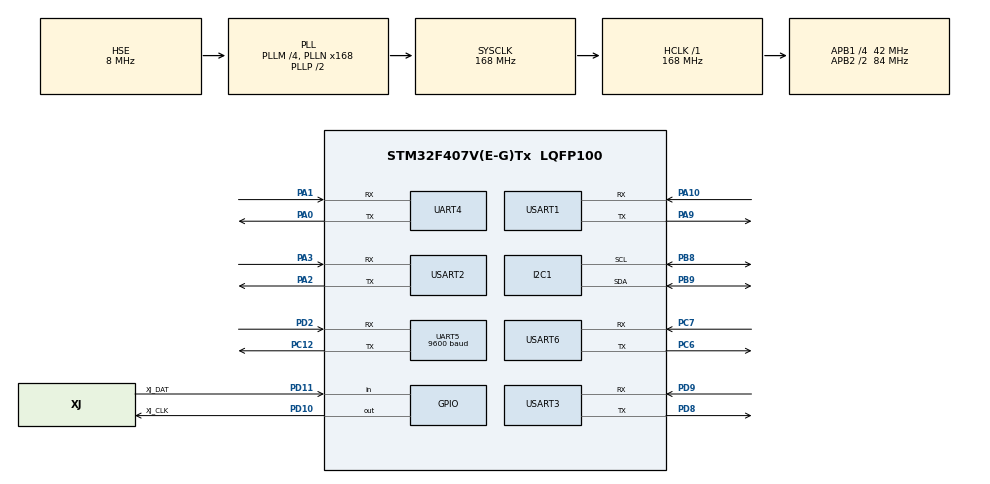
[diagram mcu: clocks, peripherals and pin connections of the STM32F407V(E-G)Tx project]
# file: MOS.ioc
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Dma.Request0=USART2_TX
Dma.Request1=USART2_RX
Dma.Request2=USART3_RX
Dma.Request3=UART4_RX
Dma.Request4=UART4_TX
Dma.Request5=UART5_RX
Dma.Request6=USART6_TX
Dma.UART4_RX.3.Direction=DMA_PERIPH_TO_MEMORY
Dma.UART4_RX.3.FIFOMode=DMA_FIFOMODE_DISABLE
Dma.UART4_RX.3.Instance=DMA1_Stream2
Dma.UART4_RX.3.MemDataAlignment=DMA_MDATAALIGN_BYTE
Dma.UART4_RX.3.MemInc=DMA_MINC_ENABLE
Dma.UART4_RX.3.Mode=DMA_NORMAL
Dma.UART4_RX.3.PeriphDataAlignment=DMA_PDATAALIGN_BYTE
Dma.UART4_RX.3.PeriphInc=DMA_PINC_DISABLE
Dma.UART4_RX.3.Priority=DMA_PRIORITY_LOW
Dma.UART4_TX.4.Direction=DMA_MEMORY_TO_PERIPH
Dma.UART4_TX.4.FIFOMode=DMA_FIFOMODE_DISABLE
Dma.UART4_TX.4.Instance=DMA1_Stream4
Dma.UART4_TX.4.MemDataAlignment=DMA_MDATAALIGN_BYTE
Dma.UART4_TX.4.MemInc=DMA_MINC_ENABLE
Dma.UART4_TX.4.Mode=DMA_NORMAL
Dma.UART4_TX.4.PeriphDataAlignment=DMA_PDATAALIGN_BYTE
Dma.UART4_TX.4.PeriphInc=DMA_PINC_DISABLE
Dma.UART4_TX.4.Priority=DMA_PRIORITY_LOW
Dma.UART5_RX.5.Direction=DMA_PERIPH_TO_MEMORY
Dma.UART5_RX.5.FIFOMode=DMA_FIFOMODE_DISABLE
Dma.UART5_RX.5.Instance=DMA1_Stream0
Dma.UART5_RX.5.MemDataAlignment=DMA_MDATAALIGN_BYTE
Dma.UART5_RX.5.MemInc=DMA_MINC_ENABLE
Dma.UART5_RX.5.Mode=DMA_NORMAL
Dma.UART5_RX.5.PeriphDataAlignment=DMA_PDATAALIGN_BYTE
Dma.UART5_RX.5.PeriphInc=DMA_PINC_DISABLE
Dma.UART5_RX.5.Priority=DMA_PRIORITY_LOW
Dma.USART2_RX.1.Direction=DMA_PERIPH_TO_MEMORY
Dma.USART2_RX.1.FIFOMode=DMA_FIFOMODE_DISABLE
Dma.USART2_RX.1.Instance=DMA1_Stream5
Dma.USART2_RX.1.MemDataAlignment=DMA_MDATAALIGN_BYTE
Dma.USART2_RX.1.MemInc=DMA_MINC_ENABLE
Dma.USART2_RX.1.Mode=DMA_NORMAL
Dma.USART2_RX.1.PeriphDataAlignment=DMA_PDATAALIGN_BYTE
Dma.USART2_RX.1.PeriphInc=DMA_PINC_DISABLE
Dma.USART2_RX.1.Priority=DMA_PRIORITY_LOW
Dma.USART2_TX.0.Direction=DMA_MEMORY_TO_PERIPH
Dma.USART2_TX.0.FIFOMode=DMA_FIFOMODE_DISABLE
Dma.USART2_TX.0.Instance=DMA1_Stream6
Dma.USART2_TX.0.MemDataAlignment=DMA_MDATAALIGN_BYTE
Dma.USART2_TX.0.MemInc=DMA_MINC_ENABLE
Dma.USART2_TX.0.Mode=DMA_NORMAL
Dma.USART2_TX.0.PeriphDataAlignment=DMA_PDATAALIGN_BYTE
Dma.USART2_TX.0.PeriphInc=DMA_PINC_DISABLE
Dma.USART2_TX.0.Priority=DMA_PRIORITY_LOW
Dma.USART3_RX.2.Direction=DMA_PERIPH_TO_MEMORY
Dma.USART3_RX.2.FIFOMode=DMA_FIFOMODE_DISABLE
Dma.USART3_RX.2.Instance=DMA1_Stream1
Dma.USART3_RX.2.MemDataAlignment=DMA_MDATAALIGN_BYTE
Dma.USART3_RX.2.MemInc=DMA_MINC_ENABLE
Dma.USART3_RX.2.Mode=DMA_NORMAL
Dma.USART3_RX.2.PeriphDataAlignment=DMA_PDATAALIGN_BYTE
Dma.USART3_RX.2.PeriphInc=DMA_PINC_DISABLE
Dma.USART3_RX.2.Priority=DMA_PRIORITY_LOW
Dma.USART6_TX.6.Direction=DMA_MEMORY_TO_PERIPH
Dma.USART6_TX.6.FIFOMode=DMA_FIFOMODE_DISABLE
Dma.USART6_TX.6.Instance=DMA2_Stream6
Dma.USART6_TX.6.MemDataAlignment=DMA_MDATAALIGN_BYTE
Dma.USART6_TX.6.MemInc=DMA_MINC_ENABLE
Dma.USART6_TX.6.Mode=DMA_NORMAL
Dma.USART6_TX.6.PeriphDataAlignment=DMA_PDATAALIGN_BYTE
Dma.USART6_TX.6.PeriphInc=DMA_PINC_DISABLE
Dma.USART6_TX.6.Priority=DMA_PRIORITY_LOW
I2C1.I2C_Mode=I2C_Fast
Mcu.Family=STM32F4
Mcu.Name=STM32F407V(E-G)Tx
Mcu.Package=LQFP100
NVIC.DMA1_Stream0_IRQn=true\:0\:0\:false\:false\:true\:false\:true\:true
NVIC.DMA1_Stream1_IRQn=true\:0\:0\:false\:false\:true\:false\:true\:true
NVIC.DMA1_Stream2_IRQn=true\:0\:0\:false\:false\:true\:false\:true\:true
NVIC.DMA1_Stream4_IRQn=true\:0\:0\:false\:false\:true\:false\:true\:true
NVIC.DMA1_Stream5_IRQn=true\:0\:0\:false\:false\:true\:false\:true\:true
NVIC.DMA1_Stream6_IRQn=true\:0\:0\:false\:false\:true\:false\:true\:true
NVIC.DMA2_Stream6_IRQn=true\:0\:0\:false\:false\:true\:false\:true\:true
NVIC.PriorityGroup=NVIC_PRIORITYGROUP_4
NVIC.TIM2_IRQn=true\:0\:0\:true\:false\:true\:true\:true\:true
NVIC.UART4_IRQn=true\:0\:0\:false\:false\:true\:true\:true\:true
NVIC.UART5_IRQn=true\:0\:0\:false\:false\:true\:true\:true\:true
NVIC.USART2_IRQn=true\:0\:0\:false\:false\:true\:true\:true\:true
NVIC.USART3_IRQn=true\:0\:0\:false\:false\:true\:true\:true\:true
NVIC.USART6_IRQn=true\:0\:0\:false\:false\:true\:true\:true\:true
PA0-WKUP.Mode=Asynchronous
PA0-WKUP.Signal=UART4_TX
PA1.Mode=Asynchronous
PA1.Signal=UART4_RX
PA10.Mode=Asynchronous
PA10.Signal=USART1_RX
PA13.Mode=Serial_Wire
PA13.Signal=SYS_JTMS-SWDIO
PA14.Mode=Serial_Wire
PA14.Signal=SYS_JTCK-SWCLK
PA2.Mode=Asynchronous
PA2.Signal=USART2_TX
PA3.Mode=Asynchronous
PA3.Signal=USART2_RX
PA9.Mode=Asynchronous
PA9.Signal=USART1_TX
PB8.Mode=I2C
PB8.Signal=I2C1_SCL
PB9.Mode=I2C
PB9.Signal=I2C1_SDA
PC12.Mode=Asynchronous
PC12.Signal=UART5_TX
PC14-OSC32_IN.Mode=LSE-External-Oscillator
PC14-OSC32_IN.Signal=RCC_OSC32_IN
PC15-OSC32_OUT.Mode=LSE-External-Oscillator
PC15-OSC32_OUT.Signal=RCC_OSC32_OUT
PC6.Mode=Asynchronous
PC6.Signal=USART6_TX
PC7.Mode=Asynchronous
PC7.Signal=USART6_RX
PD10.GPIO_Label=XJ_CLK
PD10.GPIO_PuPd=GPIO_PULLUP
PD10.GPIO_Speed=GPIO_SPEED_FREQ_VERY_HIGH
PD10.Signal=GPIO_Output
PD11.GPIO_Label=XJ_DAT
PD11.GPIO_PuPd=GPIO_PULLUP
PD11.Signal=GPIO_Input
PD2.Mode=Asynchronous
PD2.Signal=UART5_RX
PD8.Mode=Asynchronous
PD8.Signal=USART3_TX
PD9.Mode=Asynchronous
PD9.Signal=USART3_RX
PH0-OSC_IN.Mode=HSE-External-Oscillator
PH0-OSC_IN.Signal=RCC_OSC_IN
PH1-OSC_OUT.Mode=HSE-External-Oscillator
PH1-OSC_OUT.Signal=RCC_OSC_OUT
ProjectManager.HeapSize=0x200
ProjectManager.StackSize=0x400
ProjectManager.TargetToolchain=CMake
RCC.48MHZClocksFreq_Value=84000000
RCC.AHBFreq_Value=168000000
RCC.APB1CLKDivider=RCC_HCLK_DIV4
RCC.APB1Freq_Value=42000000
RCC.APB1TimFreq_Value=84000000
RCC.APB2CLKDivider=RCC_HCLK_DIV2
RCC.APB2Freq_Value=84000000
RCC.APB2TimFreq_Value=168000000
RCC.CortexFreq_Value=168000000
RCC.HCLKFreq_Value=168000000
RCC.HSE_VALUE=8000000
RCC.HSI_VALUE=16000000
RCC.PLLM=4
RCC.PLLN=168
RCC.PLLSourceVirtual=RCC_PLLSOURCE_HSE
RCC.SYSCLKFreq_VALUE=168000000
RCC.SYSCLKSource=RCC_SYSCLKSOURCE_PLLCLK
RCC.VCOOutputFreq_Value=336000000
TIM2.Period=40000-1
TIM2.Prescaler=168-1
UART4.VirtualMode=Asynchronous
UART5.BaudRate=9600
UART5.VirtualMode=Asynchronous
USART1.VirtualMode=VM_ASYNC
USART2.VirtualMode=VM_ASYNC
USART3.VirtualMode=VM_ASYNC
USART6.VirtualMode=VM_ASYNC
VP_TIM2_VS_ClockSourceINT.Mode=Internal
board=custom

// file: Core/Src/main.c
/* USER CODE BEGIN Header */
/**
  ******************************************************************************
  * @file           : main.c
  * @brief          : Main program body
  ******************************************************************************
  * @attention
  *
  * Copyright (c) 2026 STMicroelectronics.
  * All rights reserved.
  *
  * This software is licensed under terms that can be found in the LICENSE file
  * in the root directory of this software component.
  * If no LICENSE file comes with this software, it is provided AS-IS.
  *
  ******************************************************************************
  */
/* USER CODE END Header */
#include "main.h"
#include "dma.h"
#include "i2c.h"
#include "tim.h"
#include "usart.h"
#include "gpio.h"

/* USER CODE BEGIN Includes */
#include "Emm_V5.h"
#include <stdint.h>
#include <stdio.h>
#include <string.h>
#include "math.h"
#include "pid.h"
#include "xunji.h"
#include "delay.h"
#include "oled.h"
#include "time.h"
/* USER CODE END Includes */

/* USER CODE BEGIN PV */

uint8_t rxCmd1[50];
uint8_t rxCmd2[50];
uint32_t pos2 = 0;
uint32_t pos1 = 0;
volatile float Motor_Cur_Pos1 = 0.0f;
volatile float Motor_Cur_Pos2 = 0.0f;

uint8_t gray_buffer[8] = {0};
float turnerror_now = 0.0f;
float turnerror_past = 0.0f;
float alpha = 0.5;

float turnspeed;  //turn>0表示左转 error>0小车应该左转
float turnerror;
float vel_1;
float vel_2;

uint8_t dir_m1 = 1, dir_m2 = 0;//2的角度为正，1的角度为负
volatile uint8_t state = 0; //状态机
uint8_t flag1 = 0;
uint8_t flag2 = 0;
uint8_t flag3 = 0;
uint8_t flag4 = 0;
uint8_t flag5 = 0;

uint8_t raw_data[11];
short x_raw, y_raw, z_raw;
float x, y, z;
uint8_t rxData[11];
uint8_t command[50];
char text[50];
char text0[50] = "start\r\n";

uint32_t now_ticks;
volatile uint32_t      start_tick  = 0;            /* 计时开始时刻 (ms)  */
volatile uint32_t      stop_tick   = 0;            /* 计时停止时刻 (ms)  */
static uint8_t         display_dirty = 1;
volatile uint8_t flag_time = 0;
volatile uint8_t cancel_request = 0;

PID pid;
/* USER CODE END PV */

void SystemClock_Config(void);

/* USER CODE BEGIN 0 */
//printf重定向到串口1
int __io_putchar(int ch){
  HAL_UART_Transmit(&huart1, (uint8_t *)&ch, 1, HAL_MAX_DELAY);
  return ch;
}

void Motor_Stop(PID *pid){
  pid->Angle_Error = 0.0f;
  pid->Real_Speed[0] = 0.0f;
  pid->Real_Speed[1] = 0.0f;
  pid->Turn_Out = 0.0f;
  Emm_V5_Stop_Now_1(0); // Immediate stop left wheel with sync flag
  Emm_V5_Stop_Now_2(0); // Immediate stop right wheel with sync flag
}

/* USER CODE END 0 */

int main(void)
{

  /* MCU Configuration--------------------------------------------------------*/

  /* Reset of all peripherals, Initializes the Flash interface and the Systick. */
  HAL_Init();

  /* Configure the system clock */
  SystemClock_Config();

  /* Initialize all configured peripherals */
  MX_GPIO_Init();
  MX_DMA_Init();
  MX_USART2_UART_Init();
  MX_USART1_UART_Init();
  MX_USART3_UART_Init();
  MX_TIM2_Init();
  MX_UART5_Init();
  MX_UART4_Init();
  MX_I2C1_Init();
  MX_USART6_UART_Init();
  /* USER CODE BEGIN 2 */
  HAL_Delay(3000);
  //初始化OLED
  OLED_Init();
  OLED_DisPlay_On();
  OLED_NewFrame();
  draw_ready_screen();
  OLED_ShowFrame();
  //两个电机开始发送位置数据（uart2对应地址1，uart4对应地址2）
  Emm_V5_Auto_Return_Sys_Params_Timed_2(2, S_CPOS, 10);
  Emm_V5_Auto_Return_Sys_Params_Timed_1(1, S_CPOS, 10);
  HAL_Delay(100);
  //开始接收两个电机的位置数据
  HAL_UARTEx_ReceiveToIdle_DMA(&huart4, rxCmd2, sizeof(rxCmd2));
  __HAL_DMA_DISABLE_IT(huart4.hdmarx, DMA_IT_HT);
  HAL_UARTEx_ReceiveToIdle_DMA(&huart2, rxCmd1, sizeof(rxCmd1));
  __HAL_DMA_DISABLE_IT(huart2.hdmarx, DMA_IT_HT);
  //开始接收IMU数据
  HAL_UARTEx_ReceiveToIdle_DMA(&huart3, rxData, sizeof(rxData));
  __HAL_DMA_DISABLE_IT(huart3.hdmarx, DMA_IT_HT);
  //开始接收串口屏数据
  HAL_UARTEx_ReceiveToIdle_DMA(&huart5, command, sizeof(command));
  __HAL_DMA_DISABLE_IT(huart5.hdmarx, DMA_IT_HT);
  //调试正常启动标志
  printf("System Start OK!\r\n");

  HAL_TIM_Base_Start_IT(&htim2);

  // //初始化PID
  // PID_Init(&pid);

  /* USER CODE END 2 */

  /* Infinite loop */
  /* USER CODE BEGIN WHILE */

  while (1)
  {
    now_ticks = HAL_GetTick();
    if (flag_time == 1){
      static uint32_t last_draw_tick = 0;
      uint32_t elapsed = now_ticks - start_tick;
      /* 每 100ms 刷新显示 (与 0.1s 精度匹配) */
      if (display_dirty || (elapsed / 100) != (last_draw_tick / 100)){
        display_dirty = 0;
        last_draw_tick = elapsed;
        OLED_NewFrame();
        draw_running_screen(elapsed);
        OLED_ShowFrame();
      }
    }

    if (cancel_request){
      state = 0;
      cancel_request = 0;
      flag_time = 0;
      flag1 = 0;
      flag2 = 0;
      flag3 = 0;
      flag4 = 0;
      flag5 = 0;
      OLED_NewFrame();
      draw_ready_screen();
      OLED_ShowFrame();
    }

    switch (state) {
      case 0:
        break;
      case 1:
        gray_read(gray_buffer);
        if((-Motor_Cur_Pos1 + Motor_Cur_Pos2)/2.0f >= (10996.5f - 120.0f - 286.5f)){
          state = 0;
          Emm_V5_Stop_Now_1(0); // Immediate stop left wheel with sync flag
          Emm_V5_Stop_Now_2(0); // Immediate stop right wheel with sync flag
        }
        turnerror_now = Error_Calcaulate(gray_buffer);
        if (turnerror_past != 0){
          turnerror = alpha * turnerror_now + (1.0f - alpha) * turnerror_past;
        }
        turnerror_past = turnerror_now;

        turnspeed = turn(4.5f, turnerror);
        vel_1 = 100 + turnspeed;
        vel_2 = 100 - turnspeed;
        if (vel_2 < 0){
          dir_m2 = 1;
          vel_2 = -vel_2;
        } else {
          dir_m2 = 0;
        }
        Emm_V5_Vel_Control_1(dir_m1, vel_1, 40, 0);
        Emm_V5_Vel_Control_2(dir_m2, vel_2, 40, 0);
        HAL_Delay(10);
        break;
      case 2:
        if (flag1 == 0){
          start_tick = now_ticks;
          flag_time = 1;
          display_dirty = 1;
          Emm_V5_Vel_Control_1(dir_m1, 100, 40, 0);
          Emm_V5_Vel_Control_2(dir_m2, 100, 40, 0);
          flag1 = 1;
        }
        if (flag1 == 1 && flag2 == 0){
          if(Motor_Cur_Pos2 >= (2686.0f - 120.0f - 161.1f)){
          Emm_V5_Vel_Control_1(dir_m1, 78, 40, 0);
          Emm_V5_Vel_Control_2(dir_m2, 122, 40, 0);
          flag2 = 1;
          }
        }
        if (flag1 == 1 && flag2 == 1 && flag3 == 0){
          if(Motor_Cur_Pos2 >= (6117.0f - 120.0f - 161.1f)){
          Emm_V5_Vel_Control_1(dir_m1, 100, 40, 0);
          Emm_V5_Vel_Control_2(dir_m2, 100, 40, 0);
          flag3 = 1;
          }
        }
        if (flag1 == 1 && flag2 == 1 && flag3 == 1 && flag4 == 0) {
          if (Motor_Cur_Pos2 >= (8802.7f - 280.0f - 161.1f)) {
            Emm_V5_Vel_Control_1(dir_m1, 78, 40, 0);
            Emm_V5_Vel_Control_2(dir_m2, 122, 40, 0);
            flag4 = 1;
          }
        }
        if (flag1 == 1 && flag2 == 1 && flag3 == 1 && flag4 == 1 && flag5 == 0) {
          if (Motor_Cur_Pos2 >= (12234.0f - 280.0f -85.0f)) {
            Emm_V5_Stop_Now_1(0); // Immediate stop left wheel with sync flag
            Emm_V5_Stop_Now_2(0); // Immediate stop right wheel with sync flag
            state = 0;
            flag1 = 0;
            flag2 = 0;
            flag3 = 0;
            flag4 = 0;
            flag5 = 0;
            stop_tick = now_ticks;
            flag_time = 0;
            OLED_NewFrame();
            draw_stopped_screen(stop_tick - start_tick);
            OLED_ShowFrame();
            HAL_Delay(10);  // 等停止指令发送完成
            Emm_V5_Reset_CurPos_To_Zero_1();
            Emm_V5_Reset_CurPos_To_Zero_2();
            HAL_Delay(20);  // 等清零指令执行并收到新的位置数据
          }
        }
        break;
      case 3:
        //上位机启动第三项测试
        printf("1111");
        HAL_UART_Transmit_DMA(&huart6, (uint8_t *)text0, strlen(text0));
        state = 0;
        break;
      case 4:
        if (flag1 == 0){
          start_tick = now_ticks;
          flag_time = 1;
          display_dirty = 1;
          Emm_V5_Vel_Control_1(dir_m1, 65, 10, 0);
          Emm_V5_Vel_Control_2(dir_m2, 65, 10, 0);
          flag1 = 1;
        }
        if (flag1 == 1 && flag2 == 0){
          if(Motor_Cur_Pos2 >= (2686.0f - 161.1f)){
          Emm_V5_Vel_Control_1(dir_m1, 45, 10, 0);
          Emm_V5_Vel_Control_2(dir_m2, 85, 10, 0);
          flag2 = 1;
          }
        }
        if (flag1 == 1 && flag2 == 1 && flag3 == 0){
          if(Motor_Cur_Pos2 >= (3500.0f - 120.0f - 161.1f)){
          Emm_V5_Stop_Now_1(0); // Immediate stop left wheel with sync flag
          Emm_V5_Stop_Now_2(0); // Immediate stop right wheel with sync flag
          state = 0;
          flag1 = 0;
          flag2 = 0;
          flag3 = 0;
          stop_tick = now_ticks;
          flag_time = 0;
          OLED_NewFrame();
          draw_stopped_screen(stop_tick - start_tick);
          OLED_ShowFrame();
          HAL_Delay(10);  // 等停止指令发送完成
          Emm_V5_Reset_CurPos_To_Zero_1();
          Emm_V5_Reset_CurPos_To_Zero_2();
          HAL_Delay(20);  // 等清零指令执行并收到新的位置数据
          }
        }
        break;
      case 5:
        if (flag1 == 0){
          start_tick = now_ticks;
          flag_time = 1;
          display_dirty = 1;
          Emm_V5_Vel_Control_1(dir_m1, 70, 10, 0);
          Emm_V5_Vel_Control_2(dir_m2, 70, 10, 0);
          flag1 = 1;
        }
        if (flag1 == 1 && flag2 == 0){
          if(Motor_Cur_Pos2 >= (2686.0f - 161.1f)){
          Emm_V5_Vel_Control_1(dir_m1, 54, 10, 0);
          Emm_V5_Vel_Control_2(dir_m2, 86, 10, 0);
          flag2 = 1;
          }
        }
        if (flag1 == 1 && flag2 == 1 && flag3 == 0){
          if(Motor_Cur_Pos2 >= (6117.0f - 161.1f - 100.0f)){
            Emm_V5_Vel_Control_1(dir_m1, 70, 10, 0);
            Emm_V5_Vel_Control_2(dir_m2, 70, 10, 0);
            flag3 = 1;
          }
        }
        if (flag1 == 1 && flag2 == 1 && flag3 == 1 && flag4 == 0) {
          if (Motor_Cur_Pos2 >= (8802.7f - 161.1f - 100.0f )) {
            Emm_V5_Vel_Control_1(dir_m1, 53, 10, 0);
            Emm_V5_Vel_Control_2(dir_m2, 86, 10, 0);
            flag4 = 1;
          }
        }
        if (flag1 == 1 && flag2 == 1 && flag3 == 1 && flag4 == 1 && flag5 == 0) {
          if (Motor_Cur_Pos2 >= (12234.0f - 400.1f)) {
            Emm_V5_Vel_Control_1(dir_m1, 70, 10, 0);
            Emm_V5_Vel_Control_2(dir_m2, 70, 10, 0);
            flag5 = 1;
          }
        }
        if (flag1 ==1 && flag2 == 1 && flag3 == 1 && flag4 == 1 && flag5 == 1){
          if (Motor_Cur_Pos2 >= (12234.0f + 500.0f)){
            Emm_V5_Stop_Now_1(0); // Immediate stop left wheel with sync flag
            Emm_V5_Stop_Now_2(0); // Immediate stop right wheel with sync flag
            state = 0;
            flag1 = 0;
            flag2 = 0;
            flag3 = 0;
            flag4 = 0;
            flag5 = 0;
            stop_tick = now_ticks;
            flag_time = 0;
            OLED_NewFrame();
            draw_stopped_screen(stop_tick - start_tick);
            OLED_ShowFrame();
            HAL_Delay(10);  // 等停止指令发送完成
            Emm_V5_Reset_CurPos_To_Zero_1();
            Emm_V5_Reset_CurPos_To_Zero_2();
            HAL_Delay(20);  // 等清零指令执行并收到新的位置数据
          }
        }
        break;
      default:
        break;
    }
    /* USER CODE END WHILE */

  }
}

void SystemClock_Config(void)
{
  RCC_OscInitTypeDef RCC_OscInitStruct = {0};
  RCC_ClkInitTypeDef RCC_ClkInitStruct = {0};

  /** Configure the main internal regulator output voltage
  */
  __HAL_RCC_PWR_CLK_ENABLE();
  __HAL_PWR_VOLTAGESCALING_CONFIG(PWR_REGULATOR_VOLTAGE_SCALE1);

  /** Initializes the RCC Oscillators according to the specified parameters
  * in the RCC_OscInitTypeDef structure.
  */
  RCC_OscInitStruct.OscillatorType = RCC_OSCILLATORTYPE_HSE;
  RCC_OscInitStruct.HSEState = RCC_HSE_ON;
  RCC_OscInitStruct.PLL.PLLState = RCC_PLL_ON;
  RCC_OscInitStruct.PLL.PLLSource = RCC_PLLSOURCE_HSE;
  RCC_OscInitStruct.PLL.PLLM = 4;
  RCC_OscInitStruct.PLL.PLLN = 168;
  RCC_OscInitStruct.PLL.PLLP = RCC_PLLP_DIV2;
  RCC_OscInitStruct.PLL.PLLQ = 4;
  if (HAL_RCC_OscConfig(&RCC_OscInitStruct) != HAL_OK)
  {
    Error_Handler();
  }

  /** Initializes the CPU, AHB and APB buses clocks
  */
  RCC_ClkInitStruct.ClockType = RCC_CLOCKTYPE_HCLK|RCC_CLOCKTYPE_SYSCLK
                              |RCC_CLOCKTYPE_PCLK1|RCC_CLOCKTYPE_PCLK2;
  RCC_ClkInitStruct.SYSCLKSource = RCC_SYSCLKSOURCE_PLLCLK;
  RCC_ClkInitStruct.AHBCLKDivider = RCC_SYSCLK_DIV1;
  RCC_ClkInitStruct.APB1CLKDivider = RCC_HCLK_DIV4;
  RCC_ClkInitStruct.APB2CLKDivider = RCC_HCLK_DIV2;

  if (HAL_RCC_ClockConfig(&RCC_ClkInitStruct, FLASH_LATENCY_5) != HAL_OK)
  {
    Error_Handler();
  }
}

/* USER CODE BEGIN 4 */
void HAL_TIM_PeriodElapsedCallback(TIM_HandleTypeDef *htim) {
  if (htim == &htim2) {
    sprintf(text,"x:%.2f,y:%.2f,z:%.2f",x,y,z);
    HAL_UART_Transmit_DMA(&huart6, (uint8_t *)text, sizeof(text));
  }
}

void HAL_UARTEx_RxEventCallback(UART_HandleTypeDef *huart, uint16_t Size){
  if (huart == &huart4) {
    if(rxCmd2[0] == 2 && rxCmd2[1] == 0x36 && Size == 8){
    // 拼接成uint32_t类型
      pos2 = (uint32_t)(
                      ((uint32_t)rxCmd2[3] << 24)    |
                      ((uint32_t)rxCmd2[4] << 16)    |
                      ((uint32_t)rxCmd2[5] << 8)     |
                      ((uint32_t)rxCmd2[6] << 0)
                    );
      Motor_Cur_Pos2 = (float)pos2 * 360.0f / 65536.0f;
      if(rxCmd2[2]) { Motor_Cur_Pos2 = -Motor_Cur_Pos2; }

      // printf("Motor2: %.2f degrees\r\n", Motor_Cur_Pos2);
    }
    HAL_UARTEx_ReceiveToIdle_DMA(&huart4, rxCmd2, sizeof(rxCmd2));
    __HAL_DMA_DISABLE_IT(huart4.hdmarx, DMA_IT_HT);
  }

  if (huart == &huart2) {
    if(rxCmd1[0] == 1 && rxCmd1[1] == 0x36 && Size == 8){
    // 拼接成uint32_t类型
      pos1 = (uint32_t)(
                      ((uint32_t)rxCmd1[3] << 24)    |
                      ((uint32_t)rxCmd1[4] << 16)    |
                      ((uint32_t)rxCmd1[5] << 8)     |
                      ((uint32_t)rxCmd1[6] << 0)
                    );
      Motor_Cur_Pos1 = (float)pos1 * 360.0f / 65536.0f;
      if(rxCmd1[2]) { Motor_Cur_Pos1 = -Motor_Cur_Pos1; }

      // printf("Motor1: %.2f degrees\r\n", Motor_Cur_Pos1);
    }
    HAL_UARTEx_ReceiveToIdle_DMA(&huart2, rxCmd1, sizeof(rxCmd1));
    __HAL_DMA_DISABLE_IT(huart2.hdmarx, DMA_IT_HT);
  }

  if (huart == &huart3) {
    if(rxData[0] == 0x55 && rxData[1] == 0x51 && rxData[10] == (uint8_t)(rxData[0] + rxData[1] + rxData[2] + rxData[3] + rxData[4] + rxData[5] + rxData[6] + rxData[7] + rxData[8] + rxData[9])) {

			x_raw = (short)(rxData[3] << 8 | rxData[2]);
		  y_raw = (short)(rxData[5] << 8 | rxData[4]);
		  z_raw = (short)(rxData[7] << 8 | rxData[6]);

		  x = (float)x_raw  / 32768.0f * 156.8f;
		  y = (float)y_raw / 32768.0f * 156.8f;
		  z = (float)z_raw   / 32768.0f * 156.8f;

      // sprintf(text,"x:%.2f,y:%.2f,z:%.2f",x,y,z);
      // HAL_UART_Transmit_DMA(&huart6, (uint8_t *)text, sizeof(text));
      // printf("z: %.2f\r\n", z);
		}
		HAL_UARTEx_ReceiveToIdle_DMA(&huart3, rxData, sizeof(rxData));
    __HAL_DMA_DISABLE_IT(huart3.hdmarx, DMA_IT_HT);
  }

  if (huart == &huart5) {
    printf("command:%x,%x",command[0],command[1]);
    if(command[0] == 0xaa) {
      switch (command[1]) {
        case 0x02:
          state = 2;
          break;
        case 0x03:
          state = 3;
          break;
        case 0x04:
          state = 4;
          break;
        case 0x05:
          state = 5;
          break;
        case 0x06:
          state = 5;
          break;
        case 0x07:
          cancel_request = 1;
          break;
        default:
          break;
      }
		}
		HAL_UARTEx_ReceiveToIdle_DMA(&huart5, command, sizeof(command));
    __HAL_DMA_DISABLE_IT(huart5.hdmarx, DMA_IT_HT);
  }
}
/* USER CODE END 4 */

void Error_Handler(void)
{
  __disable_irq();
  while (1)
  {
  }
}
